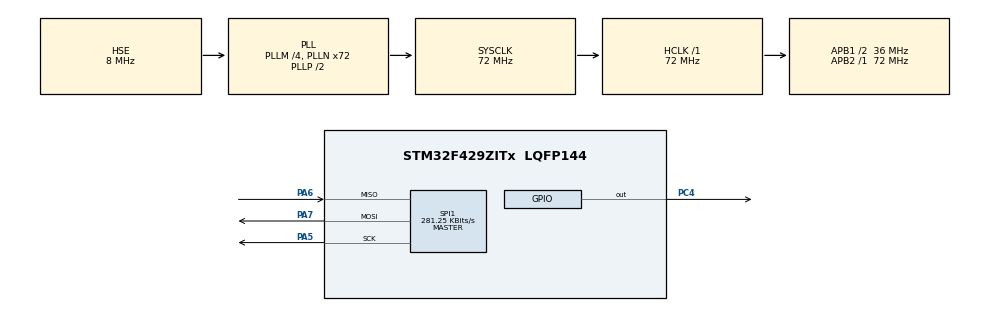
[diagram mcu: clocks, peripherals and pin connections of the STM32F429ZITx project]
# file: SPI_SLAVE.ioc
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FREERTOS.Tasks01=defaultTask,24,128,StartDefaultTask,Default,NULL,Dynamic,NULL,NULL;myTask02,8,128,StartTask02,Default,NULL,Dynamic,NULL,NULL
Mcu.Family=STM32F4
Mcu.Name=STM32F429ZITx
Mcu.Package=LQFP144
NVIC.PriorityGroup=NVIC_PRIORITYGROUP_4
NVIC.SPI1_IRQn=true\:5\:0\:true\:false\:true\:true\:true\:true
NVIC.TIM6_DAC_IRQn=true\:0\:0\:false\:false\:true\:false\:false\:true
NVIC.TimeBase=TIM6_DAC_IRQn
NVIC.TimeBaseIP=TIM6
PA13.Mode=Trace_Asynchronous_SW
PA13.Signal=SYS_JTMS-SWDIO
PA14.Mode=Trace_Asynchronous_SW
PA14.Signal=SYS_JTCK-SWCLK
PA5.Mode=Full_Duplex_Master
PA5.Signal=SPI1_SCK
PA6.Mode=Full_Duplex_Master
PA6.Signal=SPI1_MISO
PA7.Mode=Full_Duplex_Master
PA7.Signal=SPI1_MOSI
PB3.Mode=Trace_Asynchronous_SW
PB3.Signal=SYS_JTDO-SWO
PC4.Signal=GPIO_Output
PH0/OSC_IN.Mode=HSE-External-Oscillator
PH0/OSC_IN.Signal=RCC_OSC_IN
PH1/OSC_OUT.Mode=HSE-External-Oscillator
PH1/OSC_OUT.Signal=RCC_OSC_OUT
ProjectManager.HeapSize=0x200
ProjectManager.StackSize=0x400
ProjectManager.TargetToolchain=STM32CubeIDE
RCC.48MHZClocksFreq_Value=48000000
RCC.AHBFreq_Value=72000000
RCC.APB1CLKDivider=RCC_HCLK_DIV2
RCC.APB1Freq_Value=36000000
RCC.APB1TimFreq_Value=72000000
RCC.APB2Freq_Value=72000000
RCC.APB2TimFreq_Value=72000000
RCC.CortexFreq_Value=72000000
RCC.HCLKFreq_Value=72000000
RCC.HSE_VALUE=8000000
RCC.HSI_VALUE=16000000
RCC.LSE_VALUE=32768
RCC.PLLM=4
RCC.PLLN=72
RCC.PLLQ=3
RCC.PLLSAIN=50
RCC.PLLSourceVirtual=RCC_PLLSOURCE_HSE
RCC.SYSCLKFreq_VALUE=72000000
RCC.SYSCLKSource=RCC_SYSCLKSOURCE_PLLCLK
RCC.VCOOutputFreq_Value=144000000
SPI1.BaudRatePrescaler=SPI_BAUDRATEPRESCALER_256
SPI1.CalculateBaudRate=281.25 KBits/s
SPI1.Direction=SPI_DIRECTION_2LINES
SPI1.Mode=SPI_MODE_MASTER
SPI1.VirtualType=VM_MASTER
VP_FREERTOS_VS_CMSIS_V2.Mode=CMSIS_V2
VP_SYS_VS_tim6.Mode=TIM6
board=STM32F429I-DISC1

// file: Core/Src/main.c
/* USER CODE BEGIN Header */
/**
  ******************************************************************************
  * @file           : main.c
  * @brief          : Main program body
  ******************************************************************************
  * @attention
  *
  * <h2><center>&copy; Copyright (c) 2021 STMicroelectronics.
  * All rights reserved.</center></h2>
  *
  * This software component is licensed by ST under Ultimate Liberty license
  * SLA0044, the "License"; You may not use this file except in compliance with
  * the License. You may obtain a copy of the License at:
  *                             www.st.com/SLA0044
  *
  ******************************************************************************
  */
/* USER CODE END Header */
#include "main.h"
#include "cmsis_os.h"

/* USER CODE BEGIN Includes */
#include <stdio.h>
int _write(int file, char *ptr, int len) {
	int DataIdx;
	for (DataIdx = 0; DataIdx < len; DataIdx++) {
		ITM_SendChar(*ptr++);
	}
	return len;
}
/* USER CODE END Includes */

SPI_HandleTypeDef hspi1;

/* Definitions for defaultTask */
osThreadId_t defaultTaskHandle;
const osThreadAttr_t defaultTask_attributes = {
  .name = "defaultTask",
  .priority = (osPriority_t) osPriorityNormal,
  .stack_size = 128 * 4
};
/* Definitions for myTask02 */
osThreadId_t myTask02Handle;
const osThreadAttr_t myTask02_attributes = {
  .name = "myTask02",
  .priority = (osPriority_t) osPriorityLow,
  .stack_size = 128 * 4
};

void SystemClock_Config(void);
static void MX_GPIO_Init(void);
static void MX_SPI1_Init(void);
void StartDefaultTask(void *argument);
void StartTask02(void *argument);

/* USER CODE BEGIN 0 */

volatile uint8_t spi_xmit_flag = 0;
volatile uint8_t spi_recv_flag = 0;

/* USER CODE END 0 */

int main(void)
{

  /* MCU Configuration--------------------------------------------------------*/

  /* Reset of all peripherals, Initializes the Flash interface and the Systick. */
  HAL_Init();

  /* Configure the system clock */
  SystemClock_Config();

  /* Initialize all configured peripherals */
  MX_GPIO_Init();
  MX_SPI1_Init();

  /* Init scheduler */
  osKernelInitialize();

  /* Create the thread(s) */
  /* creation of defaultTask */
  defaultTaskHandle = osThreadNew(StartDefaultTask, NULL, &defaultTask_attributes);

  /* creation of myTask02 */
  myTask02Handle = osThreadNew(StartTask02, NULL, &myTask02_attributes);

  /* Start scheduler */
  osKernelStart();

  /* We should never get here as control is now taken by the scheduler */
  /* Infinite loop */
  while (1)
  {

  }
}

void SystemClock_Config(void)
{
  RCC_OscInitTypeDef RCC_OscInitStruct = {0};
  RCC_ClkInitTypeDef RCC_ClkInitStruct = {0};

  /** Configure the main internal regulator output voltage
  */
  __HAL_RCC_PWR_CLK_ENABLE();
  __HAL_PWR_VOLTAGESCALING_CONFIG(PWR_REGULATOR_VOLTAGE_SCALE3);
  /** Initializes the RCC Oscillators according to the specified parameters
  * in the RCC_OscInitTypeDef structure.
  */
  RCC_OscInitStruct.OscillatorType = RCC_OSCILLATORTYPE_HSE;
  RCC_OscInitStruct.HSEState = RCC_HSE_ON;
  RCC_OscInitStruct.PLL.PLLState = RCC_PLL_ON;
  RCC_OscInitStruct.PLL.PLLSource = RCC_PLLSOURCE_HSE;
  RCC_OscInitStruct.PLL.PLLM = 4;
  RCC_OscInitStruct.PLL.PLLN = 72;
  RCC_OscInitStruct.PLL.PLLP = RCC_PLLP_DIV2;
  RCC_OscInitStruct.PLL.PLLQ = 3;
  if (HAL_RCC_OscConfig(&RCC_OscInitStruct) != HAL_OK)
  {
    Error_Handler();
  }
  /** Initializes the CPU, AHB and APB buses clocks
  */
  RCC_ClkInitStruct.ClockType = RCC_CLOCKTYPE_HCLK|RCC_CLOCKTYPE_SYSCLK
                              |RCC_CLOCKTYPE_PCLK1|RCC_CLOCKTYPE_PCLK2;
  RCC_ClkInitStruct.SYSCLKSource = RCC_SYSCLKSOURCE_PLLCLK;
  RCC_ClkInitStruct.AHBCLKDivider = RCC_SYSCLK_DIV1;
  RCC_ClkInitStruct.APB1CLKDivider = RCC_HCLK_DIV2;
  RCC_ClkInitStruct.APB2CLKDivider = RCC_HCLK_DIV1;

  if (HAL_RCC_ClockConfig(&RCC_ClkInitStruct, FLASH_LATENCY_2) != HAL_OK)
  {
    Error_Handler();
  }
}

static void MX_SPI1_Init(void)
{

  /* SPI1 parameter configuration*/
  hspi1.Instance = SPI1;
  hspi1.Init.Mode = SPI_MODE_MASTER;
  hspi1.Init.Direction = SPI_DIRECTION_2LINES;
  hspi1.Init.DataSize = SPI_DATASIZE_8BIT;
  hspi1.Init.CLKPolarity = SPI_POLARITY_LOW;
  hspi1.Init.CLKPhase = SPI_PHASE_1EDGE;
  hspi1.Init.NSS = SPI_NSS_SOFT;
  hspi1.Init.BaudRatePrescaler = SPI_BAUDRATEPRESCALER_256;
  hspi1.Init.FirstBit = SPI_FIRSTBIT_MSB;
  hspi1.Init.TIMode = SPI_TIMODE_DISABLE;
  hspi1.Init.CRCCalculation = SPI_CRCCALCULATION_DISABLE;
  hspi1.Init.CRCPolynomial = 10;
  if (HAL_SPI_Init(&hspi1) != HAL_OK)
  {
    Error_Handler();
  }

}

static void MX_GPIO_Init(void)
{
  GPIO_InitTypeDef GPIO_InitStruct = {0};

  /* GPIO Ports Clock Enable */
  __HAL_RCC_GPIOH_CLK_ENABLE();
  __HAL_RCC_GPIOA_CLK_ENABLE();
  __HAL_RCC_GPIOC_CLK_ENABLE();
  __HAL_RCC_GPIOB_CLK_ENABLE();

  /*Configure GPIO pin Output Level */
  HAL_GPIO_WritePin(GPIOC, GPIO_PIN_4, GPIO_PIN_RESET);

  /*Configure GPIO pin : PC4 */
  GPIO_InitStruct.Pin = GPIO_PIN_4;
  GPIO_InitStruct.Mode = GPIO_MODE_OUTPUT_PP;
  GPIO_InitStruct.Pull = GPIO_NOPULL;
  GPIO_InitStruct.Speed = GPIO_SPEED_FREQ_LOW;
  HAL_GPIO_Init(GPIOC, &GPIO_InitStruct);

}

/* USER CODE BEGIN 4 */

void HAL_SPI_TxCpltCallback (SPI_HandleTypeDef * hspi)
{
  // Set CS pin to high and raise flag
  HAL_GPIO_WritePin(GPIOC, GPIO_PIN_4, GPIO_PIN_SET);
  spi_xmit_flag = 1;
}

// This is called when SPI receive is done
void HAL_SPI_RxCpltCallback (SPI_HandleTypeDef * hspi)
{
  // Set CS pin to high and raise flag
  HAL_GPIO_WritePin(GPIOC, GPIO_PIN_4, GPIO_PIN_SET);
  spi_recv_flag = 1;
}

/* USER CODE END 4 */

void StartDefaultTask(void *argument)
{
  /* USER CODE BEGIN 5 */
  /* Infinite loop */
  for(;;)
  {
	  char txBuf[]="ABCD";
	  HAL_GPIO_WritePin(GPIOC, GPIO_PIN_4, GPIO_PIN_RESET);
      HAL_SPI_Transmit_IT(&hspi1, (uint8_t *)txBuf, 12);

      if (spi_xmit_flag)
      {
        spi_xmit_flag = 0;
      }
      printf("%s\n",txBuf);

      char rxBuff1[100];
      HAL_GPIO_WritePin(GPIOC, GPIO_PIN_4, GPIO_PIN_RESET);
      HAL_SPI_Receive_IT(&hspi1, (uint8_t *)rxBuff1, 10);

      if (spi_recv_flag)
             {
               spi_recv_flag = 0;
             }

      printf("%s\n",rxBuff1);
      osDelay(1);
  }
  /* USER CODE END 5 */
}

void StartTask02(void *argument)
{
  /* USER CODE BEGIN StartTask02 */
  /* Infinite loop */
  for(;;)
  {
	printf("task2\n");
    osDelay(1);
  }
  /* USER CODE END StartTask02 */
}

 /**
  * @brief  Period elapsed callback in non blocking mode
  * @note   This function is called  when TIM6 interrupt took place, inside
  * HAL_TIM_IRQHandler(). It makes a direct call to HAL_IncTick() to increment
  * a global variable "uwTick" used as application time base.
  * @param  htim : TIM handle
  * @retval None
  */
void HAL_TIM_PeriodElapsedCallback(TIM_HandleTypeDef *htim)
{
  if (htim->Instance == TIM6) {
    HAL_IncTick();
  }
}

void Error_Handler(void)
{
  __disable_irq();
  while (1)
  {
  }
}

/************************ (C) COPYRIGHT STMicroelectronics *****END OF FILE****/
